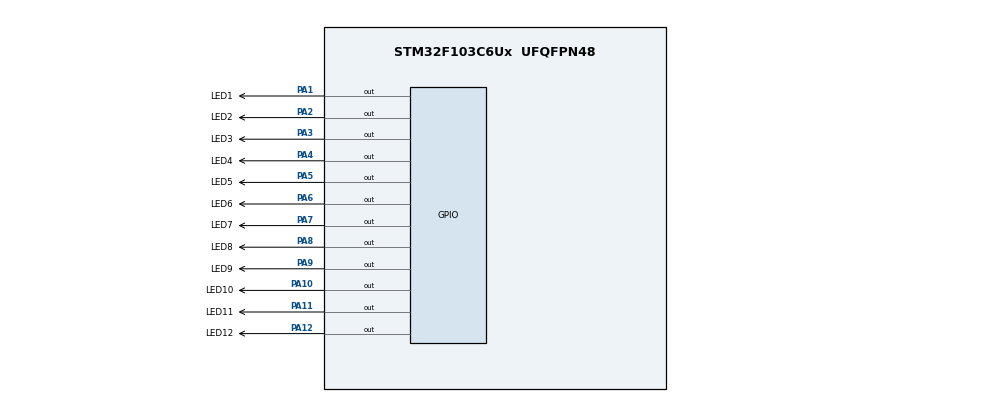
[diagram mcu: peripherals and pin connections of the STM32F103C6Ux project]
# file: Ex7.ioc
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Mcu.Family=STM32F1
Mcu.Name=STM32F103C6Ux
Mcu.Package=UFQFPN48
NVIC.PriorityGroup=NVIC_PRIORITYGROUP_4
PA1.GPIO_Label=LED1
PA1.Signal=GPIO_Output
PA10.GPIO_Label=LED10
PA10.Signal=GPIO_Output
PA11.GPIO_Label=LED11
PA11.Signal=GPIO_Output
PA12.GPIO_Label=LED12
PA12.Signal=GPIO_Output
PA2.GPIO_Label=LED2
PA2.Signal=GPIO_Output
PA3.GPIO_Label=LED3
PA3.Signal=GPIO_Output
PA4.GPIO_Label=LED4
PA4.Signal=GPIO_Output
PA5.GPIO_Label=LED5
PA5.Signal=GPIO_Output
PA6.GPIO_Label=LED6
PA6.Signal=GPIO_Output
PA7.GPIO_Label=LED7
PA7.Signal=GPIO_Output
PA8.GPIO_Label=LED8
PA8.Signal=GPIO_Output
PA9.GPIO_Label=LED9
PA9.Signal=GPIO_Output
ProjectManager.HeapSize=0x200
ProjectManager.StackSize=0x400
ProjectManager.TargetToolchain=STM32CubeIDE
RCC.APB1Freq_Value=8000000
RCC.APB2Freq_Value=8000000
VP_SYS_VS_ND.Mode=No_Debug
board=custom

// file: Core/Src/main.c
/* USER CODE BEGIN Header */
/**
  ******************************************************************************
  * @file           : main.c
  * @brief          : Main program body
  ******************************************************************************
  * @attention
  *
  * <h2><center>&copy; Copyright (c) 2023 STMicroelectronics.
  * All rights reserved.</center></h2>
  *
  * This software component is licensed by ST under BSD 3-Clause license,
  * the "License"; You may not use this file except in compliance with the
  * License. You may obtain a copy of the License at:
  *                        opensource.org/licenses/BSD-3-Clause
  *
  ******************************************************************************
  */
/* USER CODE END Header */
#include "main.h"

void SystemClock_Config(void);
static void MX_GPIO_Init(void);

/* USER CODE BEGIN 0 */
void clearAllClock(){
	HAL_GPIO_WritePin(LED1_GPIO_Port, LED1_Pin, 0);
	HAL_GPIO_WritePin(LED2_GPIO_Port, LED2_Pin, 0);
	HAL_GPIO_WritePin(LED3_GPIO_Port, LED3_Pin, 0);
	HAL_GPIO_WritePin(LED4_GPIO_Port, LED4_Pin, 0);
	HAL_GPIO_WritePin(LED5_GPIO_Port, LED5_Pin, 0);
	HAL_GPIO_WritePin(LED6_GPIO_Port, LED6_Pin, 0);
	HAL_GPIO_WritePin(LED7_GPIO_Port, LED7_Pin, 0);
	HAL_GPIO_WritePin(LED8_GPIO_Port, LED8_Pin, 0);
	HAL_GPIO_WritePin(LED9_GPIO_Port, LED9_Pin, 0);
	HAL_GPIO_WritePin(LED10_GPIO_Port, LED10_Pin, 0);
	HAL_GPIO_WritePin(LED11_GPIO_Port, LED11_Pin, 0);
	HAL_GPIO_WritePin(LED12_GPIO_Port, LED12_Pin, 0);
}
/* USER CODE END 0 */

int main(void)
{

  /* MCU Configuration--------------------------------------------------------*/

  /* Reset of all peripherals, Initializes the Flash interface and the Systick. */
  HAL_Init();

  /* Configure the system clock */
  SystemClock_Config();

  /* Initialize all configured peripherals */
  MX_GPIO_Init();

  /* Infinite loop */
  /* USER CODE BEGIN WHILE */
	HAL_GPIO_WritePin(LED1_GPIO_Port, LED1_Pin, 1); // cho tat ca cac den sang
	HAL_GPIO_WritePin(LED2_GPIO_Port, LED2_Pin, 1);
	HAL_GPIO_WritePin(LED3_GPIO_Port, LED3_Pin, 1);
	HAL_GPIO_WritePin(LED4_GPIO_Port, LED4_Pin, 1);
	HAL_GPIO_WritePin(LED5_GPIO_Port, LED5_Pin, 1);
	HAL_GPIO_WritePin(LED6_GPIO_Port, LED6_Pin, 1);
	HAL_GPIO_WritePin(LED7_GPIO_Port, LED7_Pin, 1);
	HAL_GPIO_WritePin(LED8_GPIO_Port, LED8_Pin, 1);
	HAL_GPIO_WritePin(LED9_GPIO_Port, LED9_Pin, 1);
	HAL_GPIO_WritePin(LED10_GPIO_Port, LED10_Pin, 1);
	HAL_GPIO_WritePin(LED11_GPIO_Port, LED11_Pin, 1);
	HAL_GPIO_WritePin(LED12_GPIO_Port, LED12_Pin, 1);
	int t = 3;
  while (1)
  {
	if(t==0) clearAllClock(); // cai timer 3s de tat tat ca den : test ham clearAllClock
	t--;
	HAL_Delay(1000);
    /* USER CODE END WHILE */

  }
}

void SystemClock_Config(void)
{
  RCC_OscInitTypeDef RCC_OscInitStruct = {0};
  RCC_ClkInitTypeDef RCC_ClkInitStruct = {0};

  /** Initializes the RCC Oscillators according to the specified parameters
  * in the RCC_OscInitTypeDef structure.
  */
  RCC_OscInitStruct.OscillatorType = RCC_OSCILLATORTYPE_HSI;
  RCC_OscInitStruct.HSIState = RCC_HSI_ON;
  RCC_OscInitStruct.HSICalibrationValue = RCC_HSICALIBRATION_DEFAULT;
  RCC_OscInitStruct.PLL.PLLState = RCC_PLL_NONE;
  if (HAL_RCC_OscConfig(&RCC_OscInitStruct) != HAL_OK)
  {
    Error_Handler();
  }
  /** Initializes the CPU, AHB and APB buses clocks
  */
  RCC_ClkInitStruct.ClockType = RCC_CLOCKTYPE_HCLK|RCC_CLOCKTYPE_SYSCLK
                              |RCC_CLOCKTYPE_PCLK1|RCC_CLOCKTYPE_PCLK2;
  RCC_ClkInitStruct.SYSCLKSource = RCC_SYSCLKSOURCE_HSI;
  RCC_ClkInitStruct.AHBCLKDivider = RCC_SYSCLK_DIV1;
  RCC_ClkInitStruct.APB1CLKDivider = RCC_HCLK_DIV1;
  RCC_ClkInitStruct.APB2CLKDivider = RCC_HCLK_DIV1;

  if (HAL_RCC_ClockConfig(&RCC_ClkInitStruct, FLASH_LATENCY_0) != HAL_OK)
  {
    Error_Handler();
  }
}

static void MX_GPIO_Init(void)
{
  GPIO_InitTypeDef GPIO_InitStruct = {0};

  /* GPIO Ports Clock Enable */
  __HAL_RCC_GPIOA_CLK_ENABLE();

  /*Configure GPIO pin Output Level */
  HAL_GPIO_WritePin(GPIOA, LED1_Pin|LED2_Pin|LED3_Pin|LED4_Pin
                          |LED5_Pin|LED6_Pin|LED7_Pin|LED8_Pin
                          |LED9_Pin|LED10_Pin|LED11_Pin|LED12_Pin, GPIO_PIN_RESET);

  /*Configure GPIO pins : LED1_Pin LED2_Pin LED3_Pin LED4_Pin
                           LED5_Pin LED6_Pin LED7_Pin LED8_Pin
                           LED9_Pin LED10_Pin LED11_Pin LED12_Pin */
  GPIO_InitStruct.Pin = LED1_Pin|LED2_Pin|LED3_Pin|LED4_Pin
                          |LED5_Pin|LED6_Pin|LED7_Pin|LED8_Pin
                          |LED9_Pin|LED10_Pin|LED11_Pin|LED12_Pin;
  GPIO_InitStruct.Mode = GPIO_MODE_OUTPUT_PP;
  GPIO_InitStruct.Pull = GPIO_NOPULL;
  GPIO_InitStruct.Speed = GPIO_SPEED_FREQ_LOW;
  HAL_GPIO_Init(GPIOA, &GPIO_InitStruct);

}

void Error_Handler(void)
{
  __disable_irq();
  while (1)
  {
  }
}

/************************ (C) COPYRIGHT STMicroelectronics *****END OF FILE****/
